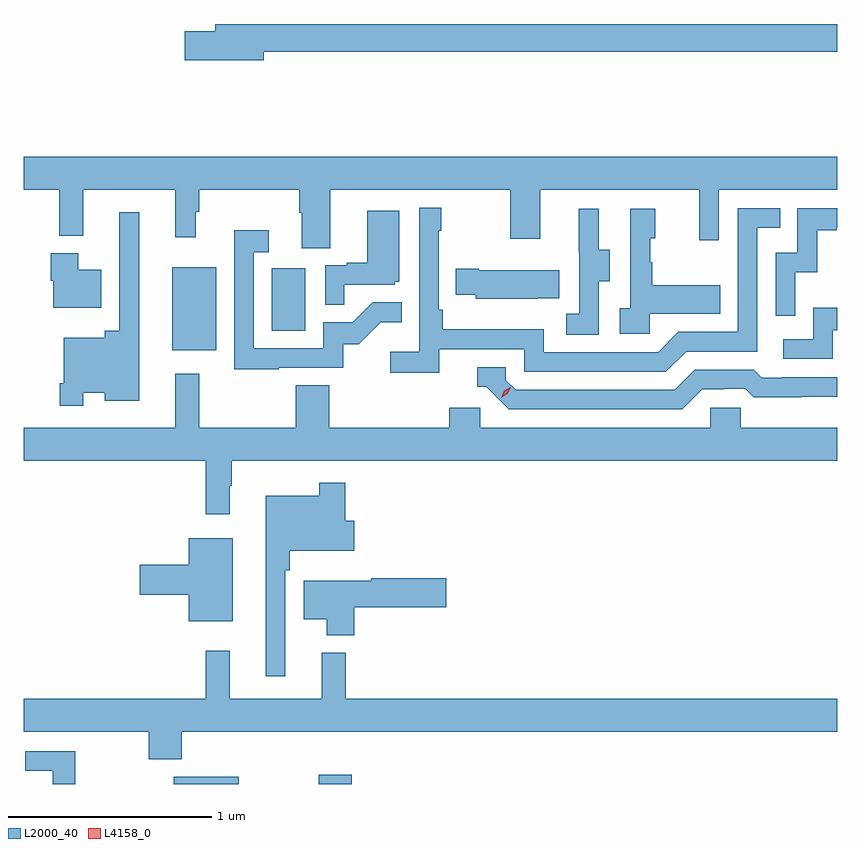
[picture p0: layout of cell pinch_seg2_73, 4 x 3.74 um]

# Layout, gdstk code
import gdstk
lib = gdstk.Library(unit=1e-6, precision=1e-09)
def R(c, l, rs):  # rectangles x0, y0, x1, y1
    for r in rs: c.add(gdstk.rectangle(r[:2], r[2:], *l))
def P(c, l, *ps):  # polygons
    for p in ps: c.add(gdstk.Polygon(p, *l))
L2000_40 = (2000, 40)
L4158_0 = (4158, 0)

pinch_seg2_73 = lib.new_cell('pinch_seg2_73')
R(pinch_seg2_73, L2000_40, [(1057.723,648.712,1058.041,648.748), (1058.435,648.712,1058.596,648.757), (1057.715,650.843,1057.93,651.253), (1058.204,650.94,1058.368,651.247)])
P(pinch_seg2_73, L2000_40, [(1058.164,652.312),(1060.984,652.312),(1060.984,652.448),(1057.925,652.448),(1057.925,652.412),(1057.776,652.412),(1057.776,652.27),(1058.164,652.27)],
  [(1058.491,651.632),(1059.376,651.632),(1059.376,651.393),(1059.523,651.393),(1059.523,651.632),(1060.304,651.632),(1060.304,651.384),(1060.401,651.384),(1060.401,651.632),(1060.984,651.632),(1060.984,651.796),(1056.984,651.796),(1056.984,651.632),(1057.159,651.632),(1057.159,651.407),(1057.277,651.407),(1057.277,651.632),(1057.73,651.632),(1057.73,651.399),(1057.829,651.399),(1057.829,651.524),(1057.847,651.524),(1057.847,651.632),(1058.339,651.632),(1058.339,651.52),(1058.351,651.52),(1058.351,651.346),(1058.491,651.346)],
  [(1059.026,650.85),(1059.444,650.85),(1059.444,650.739),(1060.141,650.739),(1060.24,650.838),(1060.59,650.838),(1060.59,651.447),(1060.703,651.447),(1060.703,651.543),(1060.494,651.543),(1060.494,650.934),(1060.203,650.934),(1060.104,650.835),(1059.54,650.835),(1059.54,650.947),(1059.044,650.947),(1059.044,651.043),(1059.024,651.043),(1059.024,651.431),(1059.037,651.431),(1059.037,651.544),(1058.928,651.544),(1058.928,650.836),(1058.787,650.836),(1058.787,650.734),(1059.026,650.734)],
  [(1060.776,651.227),(1060.886,651.227),(1060.886,651.435),(1060.981,651.435),(1060.981,651.447),(1060.984,651.447),(1060.984,651.543),(1060.788,651.543),(1060.788,651.324),(1060.68,651.324),(1060.68,651.015),(1060.776,651.015)],
  [(1060.062,651.023),(1060.409,651.023),(1060.409,651.163),(1060.075,651.163),(1060.075,651.278),(1060.065,651.278),(1060.065,651.396),(1060.09,651.396),(1060.09,651.541),(1059.966,651.541),(1059.966,651.05),(1059.915,651.05),(1059.915,650.925),(1060.062,650.925)],
  [(1059.81,651.184),(1059.865,651.184),(1059.865,651.339),(1059.811,651.339),(1059.811,651.541),(1059.713,651.541),(1059.713,651.327),(1059.714,651.327),(1059.714,651.023),(1059.651,651.023),(1059.651,650.92),(1059.81,650.92)],
  [(1058.561,651.165),(1058.808,651.165),(1058.808,651.18),(1058.83,651.18),(1058.83,651.529),(1058.672,651.529),(1058.672,651.274),(1058.573,651.274),(1058.573,651.261),(1058.466,651.261),(1058.466,651.067),(1058.561,651.067)],
  [(1057.278,650.636),(1057.382,650.636),(1057.382,650.597),(1057.552,650.597),(1057.552,651.523),(1057.455,651.523),(1057.455,650.941),(1057.382,650.941),(1057.382,650.905),(1057.182,650.905),(1057.182,650.683),(1057.162,650.683),(1057.162,650.571),(1057.278,650.571)],
  [(1058.237,650.757),(1058.556,650.757),(1058.556,650.874),(1058.632,650.874),(1058.739,650.981),(1058.843,650.981),(1058.843,651.08),(1058.699,651.08),(1058.601,650.982),(1058.457,650.982),(1058.457,650.853),(1058.115,650.853),(1058.115,651.327),(1058.188,651.327),(1058.188,651.433),(1058.019,651.433),(1058.019,650.752),(1058.237,650.752)],
  [(1057.366,651.241),(1057.252,651.241),(1057.252,651.322),(1057.118,651.322),(1057.118,651.186),(1057.13,651.186),(1057.13,651.053),(1057.366,651.053)],
  [(1059.509,651.101),(1059.617,651.101),(1059.617,651.238),(1059.22,651.238),(1059.22,651.246),(1059.109,651.246),(1059.109,651.116),(1059.207,651.116),(1059.207,651.098),(1059.509,651.098)],
  [(1060.962,650.943),(1060.984,650.943),(1060.984,651.052),(1060.866,651.052),(1060.866,650.898),(1060.719,650.898),(1060.719,650.802),(1060.962,650.802)],
  [(1060.321,650.652),(1060.428,650.652),(1060.428,650.655),(1060.531,650.655),(1060.573,650.613),(1060.806,650.613),(1060.806,650.615),(1060.984,650.615),(1060.984,650.712),(1060.711,650.712),(1060.711,650.709),(1060.612,650.709),(1060.573,650.748),(1060.284,650.748),(1060.185,650.649),(1059.402,650.649),(1059.354,650.697),(1059.354,650.76),(1059.215,650.76),(1059.215,650.664),(1059.258,650.664),(1059.369,650.553),(1060.222,650.553)],
  [(1057.996,650.177),(1058.008,650.177),(1058.008,650.3),(1060.984,650.3),(1060.984,650.464),(1060.509,650.464),(1060.509,650.562),(1060.359,650.562),(1060.359,650.464),(1059.228,650.464),(1059.228,650.562),(1059.077,650.562),(1059.077,650.464),(1058.486,650.464),(1058.486,650.672),(1058.321,650.672),(1058.321,650.464),(1057.847,650.464),(1057.847,650.728),(1057.73,650.728),(1057.73,650.464),(1056.984,650.464),(1056.984,650.3),(1057.879,650.3),(1057.879,650.037),(1057.996,650.037)],
  [(1058.271,649.763),(1058.291,649.763),(1058.291,649.859),(1058.608,649.859),(1058.608,650.007),(1058.564,650.007),(1058.564,650.194),(1058.436,650.194),(1058.436,650.128),(1058.174,650.128),(1058.174,649.242),(1058.271,649.242)],
  [(1058.011,649.921),(1057.796,649.921),(1057.796,649.79),(1057.554,649.79),(1057.554,649.643),(1057.796,649.643),(1057.796,649.511),(1058.011,649.511)],
  [(1058.609,649.582),(1059.061,649.582),(1059.061,649.724),(1058.692,649.724),(1058.692,649.711),(1058.36,649.711),(1058.36,649.523),(1058.474,649.523),(1058.474,649.442),(1058.609,649.442)],
  [(1056.984,648.968),(1057.6,648.968),(1057.6,648.833),(1057.76,648.833),(1057.76,648.968),(1060.984,648.968),(1060.984,649.132),(1058.567,649.132),(1058.567,649.357),(1058.45,649.357),(1058.45,649.132),(1057.997,649.132),(1057.997,649.366),(1057.879,649.366),(1057.879,649.132),(1056.984,649.132)],
  [(1057.237,648.873),(1056.991,648.873),(1056.991,648.776),(1057.126,648.776),(1057.126,648.712),(1057.237,648.712)])
P(pinch_seg2_73, L4158_0, [(1059.331,650.611),(1059.331,650.611),(1059.347,650.644),(1059.377,650.663),(1059.378,650.663),(1059.378,650.663),(1059.362,650.63),(1059.331,650.611)])

lib.write_gds('pinch_seg2_73.gds')
